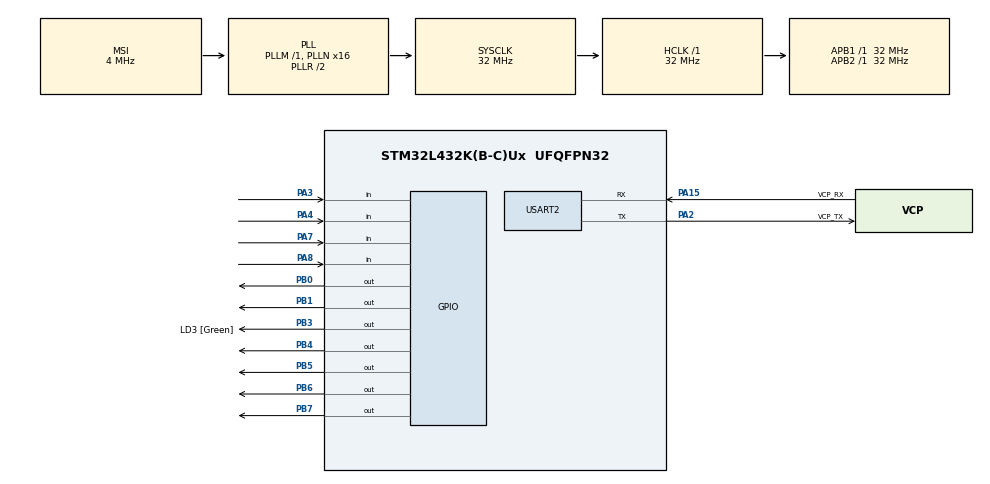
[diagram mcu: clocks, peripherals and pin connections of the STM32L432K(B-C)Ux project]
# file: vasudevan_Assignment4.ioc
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Mcu.Family=STM32L4
Mcu.Name=STM32L432K(B-C)Ux
Mcu.Package=UFQFPN32
NVIC.PriorityGroup=NVIC_PRIORITYGROUP_4
PA0.GPIO_Label=MCO [High speed clock in]
PA0.Mode=HSE-External-Clock-Source-for-LittleOrca
PA0.Signal=RCC_CK_IN
PA13\ (JTMS-SWDIO).GPIO_Label=SWDIO
PA13\ (JTMS-SWDIO).Mode=Serial_Wire
PA13\ (JTMS-SWDIO).Signal=SYS_JTMS-SWDIO
PA14\ (JTCK-SWCLK).GPIO_Label=SWCLK
PA14\ (JTCK-SWCLK).Mode=Serial_Wire
PA14\ (JTCK-SWCLK).Signal=SYS_JTCK-SWCLK
PA15\ (JTDI).GPIO_Label=VCP_RX
PA15\ (JTDI).Mode=Asynchronous
PA15\ (JTDI).Signal=USART2_RX
PA2.GPIO_Label=VCP_TX
PA2.Mode=Asynchronous
PA2.Signal=USART2_TX
PA3.Signal=GPIO_Input
PA4.Signal=GPIO_Input
PA7.Signal=GPIO_Input
PA8.Signal=GPIO_Input
PB0.Signal=GPIO_Output
PB1.Signal=GPIO_Output
PB3\ (JTDO-TRACESWO).GPIO_Label=LD3 [Green]
PB3\ (JTDO-TRACESWO).Signal=GPIO_Output
PB4\ (NJTRST).Signal=GPIO_Output
PB5.Signal=GPIO_Output
PB6.Signal=GPIO_Output
PB7.Signal=GPIO_Output
PC14-OSC32_IN\ (PC14).Mode=LSE-External-Oscillator
PC14-OSC32_IN\ (PC14).Signal=RCC_OSC32_IN
PC15-OSC32_OUT\ (PC15).Mode=LSE-External-Oscillator
PC15-OSC32_OUT\ (PC15).Signal=RCC_OSC32_OUT
ProjectManager.HeapSize=0x200
ProjectManager.StackSize=0x400
ProjectManager.TargetToolchain=STM32CubeIDE
RCC.AHBFreq_Value=32000000
RCC.APB1Freq_Value=32000000
RCC.APB1TimFreq_Value=32000000
RCC.APB2Freq_Value=32000000
RCC.APB2TimFreq_Value=32000000
RCC.CortexFreq_Value=32000000
RCC.HCLKFreq_Value=32000000
RCC.HSE_VALUE=8000000
RCC.HSI16_VALUE=16000000
RCC.HSI48_VALUE=48000000
RCC.HSI_VALUE=16000000
RCC.MSI_VALUE=4000000
RCC.PLLMUL=RCC_PLLMUL_4
RCC.PLLN=16
RCC.SYSCLKFreq_VALUE=32000000
RCC.SYSCLKSource=RCC_SYSCLKSOURCE_PLLCLK
RCC.VCOOutputFreq_Value=64000000
USART2.VirtualMode-Asynchronous=VM_ASYNC
board=NUCLEO-L432KC

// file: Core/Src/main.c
/* USER CODE BEGIN Header */
/**
  ******************************************************************************
  * FILE           : main.c
  * PROJECT        : vasudevan_assignment4
  * PROGRAMMER     : Pranav Manakkulamparambil Vasudevan
  * FIRST VERSION  : 2020-04-12
  * DESCRIPTION    : Code for implementing a simplified Debit card reader machine
  ******************************************************************************
  */
/* USER CODE END Header */

#include "main.h"
#include "stdio.h"
#include "debounce.h"

UART_HandleTypeDef huart2;

void SystemClock_Config(void);
static void MX_GPIO_Init(void);
static void MX_USART2_UART_Init(void);
char stringBuffer[16]= {0}; // string value for sprintf function for the lcd

/*FUNCTION   :void printWelcome()
 * DESCRIPTION: function for printing welcome on lcd
 * PARAMETERS : Nothing
 * RETURNS    : Nothing
 */

void printWelcome()
{
	HD44780_Init(); // initializing lcd
	HD44780_GotoXY(4, 0);
	HD44780_PutStr("Welcome");
//	HAL_Delay(1);
}

/*FUNCTION   :void printAmount()
 * DESCRIPTION: function for printing random amount on lcd
 * PARAMETERS : Nothing
 * RETURNS    : Nothing
 */

void printAmount()
{
	HD44780_ClrScr(); //clear lcd
	HD44780_GotoXY(4, 0);
	HD44780_PutStr("$12.34");
	HD44780_GotoXY(0, 1);
	HD44780_PutStr("Press Ok or Can");

}
/*FUNCTION   :void printAccount()
 * DESCRIPTION: function for printing account type on lcd
 * PARAMETERS : Nothing
 * RETURNS    : Nothing
 */

void printAccount()
{
	HD44780_ClrScr(); //clear lcd
	HD44780_PutStr("Press 1 for Chequing");
	HD44780_GotoXY(0, 1);
	HD44780_PutStr("and 2 for Savings");
}
/*FUNCTION   :void printCancelled()
 * DESCRIPTION: function for printing "transaction cancelled" on lcd
 * PARAMETERS : Nothing
 * RETURNS    : Nothing
 */

void printCancelled()
{
	HD44780_ClrScr(); //clear lcd
	HD44780_PutStr("Transaction");
	HD44780_GotoXY(0, 1);
	HD44780_PutStr("Cancelled");
	HAL_Delay(10000);
}
/*FUNCTION   :void printEnterpin()
 * DESCRIPTION: function for printing "Enter pin" on lcd
 * PARAMETERS : Nothing
 * RETURNS    : Nothing
 */

void printEnterpin()
{
	HD44780_ClrScr(); //clear lcd
	HD44780_PutStr("Enter pin");
	HAL_Delay(1);
}
/*FUNCTION   :void printProcessing()
 * DESCRIPTION: function for printing "Processing" on lcd for 10seconds
 * PARAMETERS : Nothing
 * RETURNS    : Nothing
 */
void printProcessing()
{
	//print processing
	HD44780_ClrScr(); //clear lcd
	HD44780_PutStr("Processing...");
	HAL_Delay(10000);
	printf("processing\r\n");
}
/*FUNCTION   :void printIncorrect()
 * DESCRIPTION: function for printing "Incorrect pin"  on lcd
 * PARAMETERS : Nothing
 * RETURNS    : Nothing
 */
void printIncorrect()
{
	//printing incorrect pin
	HD44780_ClrScr(); //clear lcd
	HD44780_PutStr("Incorrect pin");
	HAL_Delay(2000);
}
/*FUNCTION   :void printApproved()
 * DESCRIPTION: function for printing transaction appoval  on lcd
 * PARAMETERS : Nothing
 * RETURNS    : Nothing
 */
void printApproved()
{
	//printing transaction approved
	HD44780_ClrScr(); //clear lcd
	HD44780_PutStr("Approved");
	HD44780_GotoXY(0, 1); //set cursor to the second row of the lcd
	HD44780_PutStr("Thank you");
	HAL_Delay(2000);
}
/*FUNCTION   :void printNobalance()
 * DESCRIPTION: function for printing insufficient balance statement on lcd
 * PARAMETERS : Nothing
 * RETURNS    : Nothing
 */
void printNobalance()
{
	HD44780_ClrScr(); //clear lcd
	HD44780_PutStr("Insufficient");
	HD44780_GotoXY(0, 1); //set cursor to the second row of the lcd
	HD44780_PutStr("Balance");
	HAL_Delay(2000);
}

int main(void)
{
	//setting up GPIO pins
	uint16_t pin= GPIO_PIN_3;//button for 1
	uint16_t pin2= GPIO_PIN_4;//button for 2
	uint16_t pin3= GPIO_PIN_7;//button for 3
	uint16_t pin4= GPIO_PIN_8;//button for 4

	char port= 'A';//setting port
	int8_t mode = 0;//setting mode
	//initializing ports
	int8_t pA3=1;
	int8_t pA4=1;
	int8_t pA7=1;
	int8_t pA8=1;

	int16_t passCode[]={1111,1121,1133,1213,2111,2331,3111,3211,3333};//preassigning passcodes
	int16_t passWord[3]={0};//password entered by user
	int16_t passwordInt=0;// variable to store the interger value of password entered by user
//initializing the debounce
	deBounceInit( pin, port, mode);
	deBounceInit2( pin2, port, mode);
	deBounceInit3( pin3, port, mode);
	deBounceInit4( pin4, port, mode);

	int16_t num=0;//for differentiate which button is pressed
	int16_t buttonPressed=0;
	int16_t tranState=0;// state machine state
	int16_t i=0;//counter1
	int16_t j=0;//counter2
	int16_t flag=0;

  /* MCU Configuration--------------------------------------------------------*/

  /* Reset of all peripherals, Initializes the Flash interface and the Systick. */
  HAL_Init();

  /* Configure the system clock */
  SystemClock_Config();

  /* Initialize all configured peripherals */
  MX_GPIO_Init();
  MX_USART2_UART_Init();

  /* Infinite loop */
  /* USER CODE BEGIN WHILE */
  while (1)
  {
     switch(tranState)//switch statement for state machine
     {
     case 0: printWelcome();//function call to print welcome
         	int16_t passwordInt=0;//initializing password integer
        	printf("Welcome\r\n");
        	//getting the input from ok button
    	   	pA8 = deBounceReadPin4(pin4, port, mode);
            if(pA8==0)
            {
            	tranState=1;
            	break;
            }
            else
            {
            	tranState=0;
            	break;
            }
     case 1:
    	    printAmount();//function call to print amount
    	    printf("12.4\r\n press ok or canc\r\n");
    	    // getting input from button 1 and 2
    	  	pA3 = deBounceReadPin(pin, port, mode);
    		pA4 = deBounceReadPin2(pin2, port, mode);
    		if(pA3==0)
    		{
    			tranState=2;
    			break;
    		}
    		else if(pA4==0)
    		{
    			tranState=13;
    			break;

    		}
    		else
    		{
    			tranState=1;
    			break;
    		}

		case 2:
			printAccount();//fuction call to print account type
			printf("Press 1 for Chequing\r\nand 2 for Savings\r\n");
    	    // getting input from button 1 and 2
    	  	pA3 = deBounceReadPin(pin, port, mode);
    		pA4 = deBounceReadPin2(pin2, port, mode);
    		if(pA3==0)
    		{
    			tranState=3;
    			break;
    		}
    		else if(pA4==0)
			{
				tranState=3;
				break;
			}
			else
			{
				tranState=2;
				break;
			}

		case 3:
			printEnterpin();//function to print enter pin
			printf("Enter pin\r\n");
			//getting input from all the buttons for first number of password
			pA3 = deBounceReadPin(pin, port, mode);
			pA4 = deBounceReadPin2(pin2, port, mode);
			pA7 = deBounceReadPin3(pin3, port, mode);
		    pA8 = deBounceReadPin4(pin4, port, mode);
		    if(pA3==0)
		    {
		    	passWord[0]=1;
		    	tranState=4;
		    	break;
		    }
		    else if(pA4==0)
		    {
		    	passWord[0]=2;
		    	tranState=4;
		    	break;
		    }
		    else if (pA7==0)
		    {
		    	passWord[0]=3;
		    	tranState=4;
		    	break;
		    }
		    else
		    {
		    	tranState=3;
		    	break;
		    }

		case 4:
			    HD44780_GotoXY(0, 1); //set cursor to the second row of the lcd
				HD44780_PutStr("*");//printing *
				HAL_Delay(1);
				printf("*");
				//getting input from all the buttons for second number of password
				pA3 = deBounceReadPin(pin, port, mode);
		        pA4 = deBounceReadPin2(pin2, port, mode);
		        pA7 = deBounceReadPin3(pin3, port, mode);
		        pA8 = deBounceReadPin4(pin4, port, mode);
		        if(pA3==0)
		        {
	    	     passWord[1]=1;
	    	     tranState=5;
	    	     break;
	            }
	          else if(pA4==0)
	           {
	     	     passWord[1]=2;
	    	     tranState=5;
	    	     break;
	            }
	         else if (pA7==0)
	          {
	        	passWord[1]=3;
	        	tranState=5;
	    	    break;
	          }
	         else
	         {
	        	tranState=4;
	        	break;
	         }
		case 5:
			HD44780_GotoXY(0, 1); //set cursor to the second row of the lcd
			HD44780_PutStr("**");
			printf("*");
			HAL_Delay(1);
			//getting input from all the buttons for third number of password
			pA3 = deBounceReadPin(pin, port, mode);
	        pA4 = deBounceReadPin2(pin2, port, mode);
	        pA7 = deBounceReadPin3(pin3, port, mode);
	        pA8 = deBounceReadPin4(pin4, port, mode);
	        if(pA3==0)
	        {
    	     passWord[2]=1;
    	     tranState=6;
    	     break;
            }
          else if(pA4==0)
           {
     	     passWord[2]=2;
    	     tranState=6;
    	     break;
            }
         else if (pA7==0)
          {
        	passWord[2]=3;
        	tranState=6;
    	    break;
          }
         else
         {
        	tranState=5;
        	break;
         }
		case 6:
			HD44780_GotoXY(0, 1); //set cursor to the second row of the lcd
			HD44780_PutStr("***");
			printf("*");
			HAL_Delay(1);
			//getting input from all the buttons for fourth number of password
			pA3 = deBounceReadPin(pin, port, mode);
	        pA4 = deBounceReadPin2(pin2, port, mode);
	        pA7 = deBounceReadPin3(pin3, port, mode);
	        pA8 = deBounceReadPin4(pin4, port, mode);
	        if(pA3==0)
	        {
    	     passWord[3]=1;
    	     tranState=7;
    	     break;
            }
          else if(pA4==0)
           {
     	     passWord[3]=2;
    	     tranState=7;
    	     break;
            }
         else if (pA7==0)
          {
        	passWord[3]=3;
        	tranState=7;
    	    break;
          }
         else
         {
        	tranState=6;
        	break;
         }

		case 7:
			HD44780_GotoXY(0, 1); //set cursor to the second row of the lcd
			HD44780_PutStr("****");
			printf("*");
			HAL_Delay(1);
			//getting input from ok button
			pA8 = deBounceReadPin4(pin4, port, mode);
		    if(pA8==0)
			{
			 tranState=8;
			 break;
		    }
			else
			{
			tranState=7;
			break;
		    }
		case 8:
			//print processing
			printProcessing();
			//converting ented password into interger value
			for(i=0;i<4;i++)
			{
				passwordInt= passwordInt*10;
				passwordInt= passwordInt+passWord[i];
			}
			printf("Entered password=%d\r\n",passwordInt);
			tranState=9;
			break;

		case 9:
			//checking for the passcode match
            for(j=0;j<9;j++)
            {
            	if(passCode[j]==passwordInt)
            	{
            		flag=1;
            	}
            }
            if(flag==1)
            {
            	tranState=11;
            	break;
            }
            else
            {
            	tranState=10;
            	break;
            }

		case 10:
			//printing incorrect pin
			printIncorrect();
			printf("Incorrect pin\r\n");
			tranState=13;
			break;

		case 11:
			//checking for minimum balance
			if(passwordInt==3333)
			{
				tranState=12;
				break;
			}
			else
			{   //printing transaction approved
				printApproved();
				printf("Approved\r\n Thank you\r\n");
				tranState=0;
				break;
			}
		case 12:
			printNobalance();
			printf("Insufficinet \r\n Balance\r\n");
			tranState=13;
			break;

		case 13:
			 printCancelled();//function call to print cancel statement
			 printf("Transaction\r\n Cancelled\r\n");
			 tranState=0;
 	         break;
     }

    /* USER CODE END WHILE */

  }
}

void SystemClock_Config(void)
{
  RCC_OscInitTypeDef RCC_OscInitStruct = {0};
  RCC_ClkInitTypeDef RCC_ClkInitStruct = {0};
  RCC_PeriphCLKInitTypeDef PeriphClkInit = {0};

  /** Configure LSE Drive Capability
  */
  HAL_PWR_EnableBkUpAccess();
  __HAL_RCC_LSEDRIVE_CONFIG(RCC_LSEDRIVE_LOW);
  /** Initializes the CPU, AHB and APB busses clocks
  */
  RCC_OscInitStruct.OscillatorType = RCC_OSCILLATORTYPE_LSE|RCC_OSCILLATORTYPE_MSI;
  RCC_OscInitStruct.LSEState = RCC_LSE_ON;
  RCC_OscInitStruct.MSIState = RCC_MSI_ON;
  RCC_OscInitStruct.MSICalibrationValue = 0;
  RCC_OscInitStruct.MSIClockRange = RCC_MSIRANGE_6;
  RCC_OscInitStruct.PLL.PLLState = RCC_PLL_ON;
  RCC_OscInitStruct.PLL.PLLSource = RCC_PLLSOURCE_MSI;
  RCC_OscInitStruct.PLL.PLLM = 1;
  RCC_OscInitStruct.PLL.PLLN = 16;
  RCC_OscInitStruct.PLL.PLLP = RCC_PLLP_DIV7;
  RCC_OscInitStruct.PLL.PLLQ = RCC_PLLQ_DIV2;
  RCC_OscInitStruct.PLL.PLLR = RCC_PLLR_DIV2;
  if (HAL_RCC_OscConfig(&RCC_OscInitStruct) != HAL_OK)
  {
    Error_Handler();
  }
  /** Initializes the CPU, AHB and APB busses clocks
  */
  RCC_ClkInitStruct.ClockType = RCC_CLOCKTYPE_HCLK|RCC_CLOCKTYPE_SYSCLK
                              |RCC_CLOCKTYPE_PCLK1|RCC_CLOCKTYPE_PCLK2;
  RCC_ClkInitStruct.SYSCLKSource = RCC_SYSCLKSOURCE_PLLCLK;
  RCC_ClkInitStruct.AHBCLKDivider = RCC_SYSCLK_DIV1;
  RCC_ClkInitStruct.APB1CLKDivider = RCC_HCLK_DIV1;
  RCC_ClkInitStruct.APB2CLKDivider = RCC_HCLK_DIV1;

  if (HAL_RCC_ClockConfig(&RCC_ClkInitStruct, FLASH_LATENCY_1) != HAL_OK)
  {
    Error_Handler();
  }
  PeriphClkInit.PeriphClockSelection = RCC_PERIPHCLK_USART2;
  PeriphClkInit.Usart2ClockSelection = RCC_USART2CLKSOURCE_PCLK1;
  if (HAL_RCCEx_PeriphCLKConfig(&PeriphClkInit) != HAL_OK)
  {
    Error_Handler();
  }
  /** Configure the main internal regulator output voltage
  */
  if (HAL_PWREx_ControlVoltageScaling(PWR_REGULATOR_VOLTAGE_SCALE1) != HAL_OK)
  {
    Error_Handler();
  }
  /** Enable MSI Auto calibration
  */
  HAL_RCCEx_EnableMSIPLLMode();
}

static void MX_USART2_UART_Init(void)
{

  huart2.Instance = USART2;
  huart2.Init.BaudRate = 115200;
  huart2.Init.WordLength = UART_WORDLENGTH_8B;
  huart2.Init.StopBits = UART_STOPBITS_1;
  huart2.Init.Parity = UART_PARITY_NONE;
  huart2.Init.Mode = UART_MODE_TX_RX;
  huart2.Init.HwFlowCtl = UART_HWCONTROL_NONE;
  huart2.Init.OverSampling = UART_OVERSAMPLING_16;
  huart2.Init.OneBitSampling = UART_ONE_BIT_SAMPLE_DISABLE;
  huart2.AdvancedInit.AdvFeatureInit = UART_ADVFEATURE_NO_INIT;
  if (HAL_UART_Init(&huart2) != HAL_OK)
  {
    Error_Handler();
  }

}

static void MX_GPIO_Init(void)
{
  GPIO_InitTypeDef GPIO_InitStruct = {0};

  /* GPIO Ports Clock Enable */
  __HAL_RCC_GPIOC_CLK_ENABLE();
  __HAL_RCC_GPIOA_CLK_ENABLE();
  __HAL_RCC_GPIOB_CLK_ENABLE();

  /*Configure GPIO pin Output Level */
  HAL_GPIO_WritePin(GPIOB, GPIO_PIN_0|GPIO_PIN_1|LD3_Pin|GPIO_PIN_4
                          |GPIO_PIN_5|GPIO_PIN_6|GPIO_PIN_7, GPIO_PIN_RESET);

  /*Configure GPIO pins : PA3 PA4 PA7 PA8 */
  GPIO_InitStruct.Pin = GPIO_PIN_3|GPIO_PIN_4|GPIO_PIN_7|GPIO_PIN_8;
  GPIO_InitStruct.Mode = GPIO_MODE_INPUT;
  GPIO_InitStruct.Pull = GPIO_NOPULL;
  HAL_GPIO_Init(GPIOA, &GPIO_InitStruct);

  /*Configure GPIO pins : PB0 PB1 LD3_Pin PB4
                           PB5 PB6 PB7 */
  GPIO_InitStruct.Pin = GPIO_PIN_0|GPIO_PIN_1|LD3_Pin|GPIO_PIN_4
                          |GPIO_PIN_5|GPIO_PIN_6|GPIO_PIN_7;
  GPIO_InitStruct.Mode = GPIO_MODE_OUTPUT_PP;
  GPIO_InitStruct.Pull = GPIO_NOPULL;
  GPIO_InitStruct.Speed = GPIO_SPEED_FREQ_LOW;
  HAL_GPIO_Init(GPIOB, &GPIO_InitStruct);

}

void Error_Handler(void)
{
}

/************************ (C) COPYRIGHT STMicroelectronics *****END OF FILE****/
